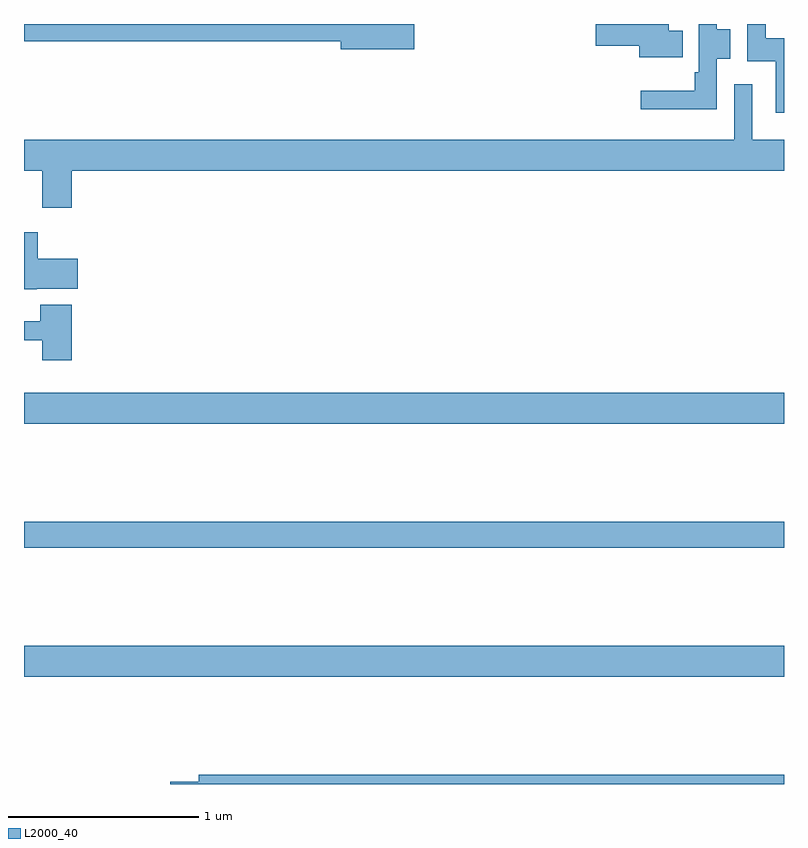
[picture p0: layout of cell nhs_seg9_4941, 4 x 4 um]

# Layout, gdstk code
import gdstk
lib = gdstk.Library(unit=1e-6, precision=1e-09)
def R(c, l, rs):  # rectangles x0, y0, x1, y1
    for r in rs: c.add(gdstk.rectangle(r[:2], r[2:], *l))
def P(c, l, *ps):  # polygons
    for p in ps: c.add(gdstk.Polygon(p, *l))
L2000_40 = (2000, 40)

nhs_seg9_4941 = lib.new_cell('nhs_seg9_4941')
R(nhs_seg9_4941, L2000_40, [(397,1219.064,401,1219.228), (397,1219.744,401,1219.88), (397,1220.396,401,1220.56)])
P(nhs_seg9_4941, L2000_40, [(401,1222.426),(400.905,1222.426),(400.905,1222.5),(400.806,1222.5),(400.806,1222.304),(400.956,1222.304),(400.956,1222.034),(401,1222.034)],
  [(400.647,1222.318),(400.717,1222.318),(400.717,1222.473),(400.647,1222.473),(400.647,1222.5),(400.551,1222.5),(400.551,1222.246),(400.531,1222.246),(400.531,1222.15),(400.245,1222.15),(400.245,1222.052),(400.647,1222.052)],
  [(399.055,1222.5),(397,1222.5),(397,1222.408),(398.666,1222.408),(398.666,1222.366),(399.055,1222.366)],
  [(400.466,1222.465),(400.393,1222.465),(400.393,1222.5),(400.008,1222.5),(400.008,1222.385),(400.238,1222.385),(400.238,1222.325),(400.466,1222.325)],
  [(397.25,1221.728),(401,1221.728),(401,1221.892),(400.833,1221.892),(400.833,1222.183),(400.737,1222.183),(400.737,1221.892),(397,1221.892),(397,1221.728),(397.097,1221.728),(397.097,1221.534),(397.25,1221.534)],
  [(397.068,1221.107),(397.282,1221.107),(397.282,1221.265),(397.072,1221.265),(397.072,1221.403),(397,1221.403),(397,1221.104),(397.068,1221.104)],
  [(397.25,1221.022),(397.085,1221.022),(397.085,1220.935),(397,1220.935),(397,1220.835),(397.097,1220.835),(397.097,1220.73),(397.25,1220.73)],
  [(401,1218.548),(397.919,1218.548),(397.919,1218.512),(397.77,1218.512),(397.77,1218.5),(401,1218.5)])

lib.write_gds('nhs_seg9_4941.gds')
